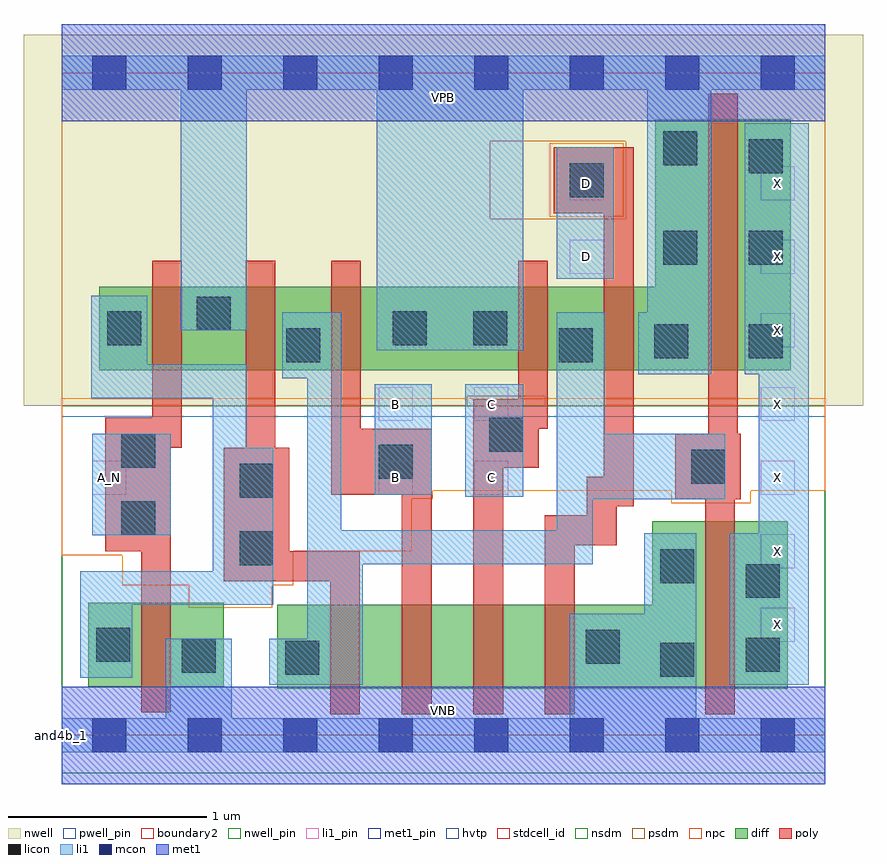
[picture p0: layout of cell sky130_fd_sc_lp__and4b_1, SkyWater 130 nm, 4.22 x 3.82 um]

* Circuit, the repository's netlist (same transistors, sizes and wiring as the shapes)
* Copyright 2020 The SkyWater PDK Authors
*
* Licensed under the Apache License, Version 2.0 (the "License");
* you may not use this file except in compliance with the License.
* You may obtain a copy of the License at
*
*     https://www.apache.org/licenses/LICENSE-2.0
*
* Unless required by applicable law or agreed to in writing, software
* distributed under the License is distributed on an "AS IS" BASIS,
* WITHOUT WARRANTIES OR CONDITIONS OF ANY KIND, either express or implied.
* See the License for the specific language governing permissions and
* limitations under the License.
*
* SPDX-License-Identifier: Apache-2.0

.SUBCKT sky130_fd_sc_lp__and4b_1 A_N B C D VGND VNB VPB VPWR X
*.PININFO A_N:I B:I C:I D:I VGND:I VNB:I VPB:I VPWR:I X:O
MMP0 y A VPWR VPB sky130_fd_pr__pfet_01v8_hvt m=1 w=0.42U l=0.15U mult=1 sa=0.265
+ sb=0.265 sd=0.28 area=0.063 perim=1.14
MMP1 y B VPWR VPB sky130_fd_pr__pfet_01v8_hvt m=1 w=0.42U l=0.15U mult=1 sa=0.265
+ sb=0.265 sd=0.28 area=0.063 perim=1.14
MMP2 y C VPWR VPB sky130_fd_pr__pfet_01v8_hvt m=1 w=0.42U l=0.15U mult=1 sa=0.265
+ sb=0.265 sd=0.28 area=0.063 perim=1.14
MMP3 y D VPWR VPB sky130_fd_pr__pfet_01v8_hvt m=1 w=0.42U l=0.15U mult=1 sa=0.265
+ sb=0.265 sd=0.28 area=0.063 perim=1.14
MMIP0 A A_N VPWR VPB sky130_fd_pr__pfet_01v8_hvt m=1 w=0.42U l=0.15U mult=1 sa=0.265
+ sb=0.265 sd=0.28 area=0.063 perim=1.14
MMIP1 X y VPWR VPB sky130_fd_pr__pfet_01v8_hvt m=1 w=1.26U l=0.15U mult=1 sa=0.265
+ sb=0.265 sd=0.28 area=0.063 perim=1.14
MMN0 y A sndA VNB sky130_fd_pr__nfet_01v8 m=1 w=0.42U l=0.15U mult=1 sa=0.265 sb=0.265
+ sd=0.28 area=0.063 perim=1.14
MMN1 sndA B sndB VNB sky130_fd_pr__nfet_01v8 m=1 w=0.42U l=0.15U mult=1 sa=0.265
+ sb=0.265 sd=0.28 area=0.063 perim=1.14
MMN2 sndB C sndC VNB sky130_fd_pr__nfet_01v8 m=1 w=0.42U l=0.15U mult=1 sa=0.265
+ sb=0.265 sd=0.28 area=0.063 perim=1.14
MMN3 sndC D VGND VNB sky130_fd_pr__nfet_01v8 m=1 w=0.42U l=0.15U mult=1 sa=0.265
+ sb=0.265 sd=0.28 area=0.063 perim=1.14
MMIN0 A A_N VGND VNB sky130_fd_pr__nfet_01v8 m=1 w=0.42U l=0.15U mult=1 sa=0.265
+ sb=0.265 sd=0.28 area=0.063 perim=1.14
MMIN1 X y VGND VNB sky130_fd_pr__nfet_01v8 m=1 w=0.84U l=0.15U mult=1 sa=0.265
+ sb=0.265 sd=0.28 area=0.063 perim=1.14
.ENDS sky130_fd_sc_lp__and4b_1

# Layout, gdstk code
import gdstk
lib = gdstk.Library(unit=1e-6, precision=1e-09)
def R(c, l, rs):  # rectangles x0, y0, x1, y1
    for r in rs: c.add(gdstk.rectangle(r[:2], r[2:], *l))
def A(c, l, x, y, w, h, nx, ny, dx, dy):  # array of equal rectangles
    R(c, l, [(x+i*dx, y+j*dy, x+i*dx+w, y+j*dy+h) for i in range(nx) for j in range(ny)])
def P(c, l, *ps):  # polygons
    for p in ps: c.add(gdstk.Polygon(p, *l))
nwell_pin = (64, 16)
nwell = (64, 20)
diff = (65, 20)
poly = (66, 20)
licon = (66, 44)
li1_pin = (67, 16)
li1 = (67, 20)
mcon = (67, 44)
met1_pin = (68, 16)
met1 = (68, 20)
hvtp = (78, 44)
stdcell_id = (81, 4)
nsdm = (93, 44)
psdm = (94, 20)
npc = (95, 20)
pwell_pin = (122, 16)
boundary2 = (236, 0)

sky130_fd_sc_lp__and4b_1 = lib.new_cell('sky130_fd_sc_lp__and4b_1')
R(sky130_fd_sc_lp__and4b_1, nwell_pin, [(0,3.085,3.84,3.33)])
R(sky130_fd_sc_lp__and4b_1, nwell, [(-0.19,1.655,4.03,3.52)])
R(sky130_fd_sc_lp__and4b_1, diff, [(0.135,0.245,0.815,0.665)])
P(sky130_fd_sc_lp__and4b_1, diff, [(3.65,1.075),(2.97,1.075),(2.97,0.655),(1.085,0.655),(1.085,0.235),(3.65,0.235)],
  [(3.665,3.095),(2.985,3.095),(2.985,2.255),(0.19,2.255),(0.19,1.835),(3.665,1.835)])
P(sky130_fd_sc_lp__and4b_1, poly, [(0.605,2.385),(0.455,2.385),(0.455,1.595),(0.22,1.595),(0.22,0.925),(0.4,0.925),(0.4,0.115),(0.55,0.115),(0.55,1.445),(0.605,1.445)],
  [(1.5,0.925),(1.145,0.925),(1.145,1.445),(1.075,1.445),(1.075,2.385),(0.925,2.385),(0.925,1.445),(0.815,1.445),(0.815,0.775),(1.35,0.775),(1.35,0.105),(1.5,0.105)],
  [(1.86,1.54),(1.505,1.54),(1.505,2.385),(1.355,2.385),(1.355,1.21),(1.71,1.21),(1.71,0.105),(1.86,0.105)],
  [(2.445,2.385),(2.295,2.385),(2.295,1.69),(2.07,1.69),(2.07,0.105),(2.22,0.105),(2.22,1.345),(2.4,1.345),(2.4,1.54),(2.445,1.54)],
  [(2.875,2.955),(2.475,2.955),(2.475,2.625),(2.725,2.625),(2.725,1.3),(2.64,1.3),(2.64,1.105),(2.43,1.105),(2.43,0.105),(2.58,0.105),(2.58,0.955),(2.79,0.955),(2.79,1.15),(2.875,1.15)],
  [(3.415,1.515),(3.4,1.515),(3.4,3.225),(3.25,3.225),(3.25,1.515),(3.085,1.515),(3.085,1.185),(3.235,1.185),(3.235,0.105),(3.385,0.105),(3.385,1.185),(3.415,1.185)])
R(sky130_fd_sc_lp__and4b_1, licon, [(3.01,0.295,3.18,0.465), (1.125,0.305,1.295,0.475), (0.605,0.315,0.775,0.485), (3.44,0.32,3.61,0.49), (2.635,0.36,2.805,0.53), (0.175,0.37,0.345,0.54), (3.44,0.69,3.61,0.86), (3.01,0.765,3.18,0.935), (0.895,0.855,1.065,1.025), (0.3,1.005,0.47,1.175), (0.895,1.195,1.065,1.365), (3.165,1.265,3.335,1.435), (1.595,1.29,1.765,1.46), (0.3,1.345,0.47,1.515), (2.15,1.425,2.32,1.595), (1.13,1.875,1.3,2.045), (2.5,1.875,2.67,2.045), (2.98,1.895,3.15,2.065), (3.455,1.895,3.625,2.065), (0.23,1.96,0.4,2.13), (1.665,1.96,1.835,2.13), (2.07,1.96,2.24,2.13), (0.68,2.035,0.85,2.205), (3.025,2.365,3.195,2.535), (3.455,2.365,3.625,2.535), (2.555,2.705,2.725,2.875), (3.455,2.825,3.625,2.995), (3.025,2.865,3.195,3.035)])
A(sky130_fd_sc_lp__and4b_1, li1_pin, 3.515, 0.47, 0.17, 0.17, 1, 7, 0, 0.37)
R(sky130_fd_sc_lp__and4b_1, li1_pin, [(0.155,1.21,0.325,1.38), (1.595,1.21,1.765,1.38), (2.075,1.21,2.245,1.38), (1.595,1.58,1.765,1.75), (2.075,1.58,2.245,1.75), (2.555,2.32,2.725,2.49), (2.555,2.69,2.725,2.86)])
R(sky130_fd_sc_lp__and4b_1, li1, [(0.155,1.005,0.55,1.515), (2.03,1.2,2.32,1.765), (1.575,1.21,1.86,1.765), (2.49,2.295,2.775,2.955)])
P(sky130_fd_sc_lp__and4b_1, li1, [(3.84,3.415),(0,3.415),(0,3.245),(0.6,3.245),(0.6,2.035),(0.93,2.035),(0.93,3.245),(1.585,3.245),(1.585,1.935),(2.32,1.935),(2.32,3.245),(2.945,3.245),(2.945,2.125),(2.9,2.125),(2.9,1.815),(3.265,1.815),(3.265,3.245),(3.84,3.245)],
  [(3.84,0.085),(3.19,0.085),(3.19,1.015),(2.93,1.015),(2.93,0.61),(2.555,0.61),(2.555,0.085),(0.855,0.085),(0.855,0.485),(0.525,0.485),(0.525,0.085),(0,0.085),(0,-0.085),(3.84,-0.085)],
  [(1.11,1.795),(1.11,2.125),(1.405,2.125),(1.405,1.03),(2.49,1.03),(2.49,2.125),(2.73,2.125),(2.73,1.515),(3.335,1.515),(3.335,1.185),(2.67,1.185),(2.67,0.86),(1.515,0.86),(1.515,0.255),(1.045,0.255),(1.045,0.485),(1.235,0.485),(1.235,1.795)],
  [(3.36,0.255),(3.36,1.015),(3.505,1.015),(3.505,1.815),(3.435,1.815),(3.435,3.075),(3.755,3.075),(3.755,0.255)],
  [(0.43,1.865),(0.93,1.865),(0.93,1.445),(1.065,1.445),(1.065,0.655),(0.355,0.655),(0.355,0.29),(0.095,0.29),(0.095,0.825),(0.76,0.825),(0.76,1.695),(0.15,1.695),(0.15,2.21),(0.43,2.21)])
A(sky130_fd_sc_lp__and4b_1, mcon, 0.155, -0.085, 0.17, 0.17, 8, 2, 0.48, 3.33)
R(sky130_fd_sc_lp__and4b_1, met1_pin, [(0,0,3.84,0.245), (0,3.085,3.84,3.33)])
R(sky130_fd_sc_lp__and4b_1, met1, [(0,-0.245,3.84,0.245), (0,3.085,3.84,3.575)])
R(sky130_fd_sc_lp__and4b_1, hvtp, [(0,1.6,3.84,3.33)])
R(sky130_fd_sc_lp__and4b_1, stdcell_id, [(0,0,3.84,3.33)])
R(sky130_fd_sc_lp__and4b_1, nsdm, [(0,-0.19,3.84,1.655)])
P(sky130_fd_sc_lp__and4b_1, psdm, [(3.84,3.52),(2.835,3.52),(2.835,2.595),(2.155,2.595),(2.155,2.985),(2.835,2.985),(2.835,3.52),(0,3.52),(0,1.655),(2.04,1.655),(2.04,1.705),(2.43,1.705),(2.43,1.655),(3.84,1.655)])
R(sky130_fd_sc_lp__and4b_1, npc, [(2.455,2.605,2.825,2.975)])
P(sky130_fd_sc_lp__and4b_1, npc, [(3.84,1.695),(0,1.695),(0,0.905),(0.305,0.905),(0.305,0.755),(0.64,0.755),(0.64,0.64),(1.06,0.64),(1.06,0.755),(1.165,0.755),(1.165,0.925),(1.76,0.925),(1.76,1.19),(1.865,1.19),(1.865,1.23),(3.065,1.23),(3.065,1.165),(3.465,1.165),(3.465,1.23),(3.84,1.23)])
R(sky130_fd_sc_lp__and4b_1, pwell_pin, [(0,0,3.84,0.245)])
R(sky130_fd_sc_lp__and4b_1, boundary2, [(0,0,3.84,3.33)])
sky130_fd_sc_lp__and4b_1.add(gdstk.Label('VNB', (1.92,0.123), layer=64, texttype=59))
sky130_fd_sc_lp__and4b_1.add(gdstk.Label('VPB', (1.92,3.208), layer=64, texttype=5))
sky130_fd_sc_lp__and4b_1.add(gdstk.Label('and4b_1', (0,0), layer=83, texttype=44))
sky130_fd_sc_lp__and4b_1.add(gdstk.Label('VPWR', (1.92,3.208), layer=68, texttype=5))
sky130_fd_sc_lp__and4b_1.add(gdstk.Label('VGND', (1.92,0.123), layer=68, texttype=5))
sky130_fd_sc_lp__and4b_1.add(gdstk.Label('B', (1.68,1.295), layer=67, texttype=5))
sky130_fd_sc_lp__and4b_1.add(gdstk.Label('B', (1.68,1.665), layer=67, texttype=5))
sky130_fd_sc_lp__and4b_1.add(gdstk.Label('A_N', (0.24,1.295), layer=67, texttype=5))
sky130_fd_sc_lp__and4b_1.add(gdstk.Label('X', (3.6,0.555), layer=67, texttype=5))
sky130_fd_sc_lp__and4b_1.add(gdstk.Label('C', (2.16,1.295), layer=67, texttype=5))
sky130_fd_sc_lp__and4b_1.add(gdstk.Label('C', (2.16,1.665), layer=67, texttype=5))
sky130_fd_sc_lp__and4b_1.add(gdstk.Label('D', (2.64,2.405), layer=67, texttype=5))
sky130_fd_sc_lp__and4b_1.add(gdstk.Label('D', (2.64,2.775), layer=67, texttype=5))
sky130_fd_sc_lp__and4b_1.add(gdstk.Label('X', (3.6,2.775), layer=67, texttype=5))
sky130_fd_sc_lp__and4b_1.add(gdstk.Label('X', (3.6,2.405), layer=67, texttype=5))
sky130_fd_sc_lp__and4b_1.add(gdstk.Label('X', (3.6,2.035), layer=67, texttype=5))
sky130_fd_sc_lp__and4b_1.add(gdstk.Label('X', (3.6,1.665), layer=67, texttype=5))
sky130_fd_sc_lp__and4b_1.add(gdstk.Label('X', (3.6,1.295), layer=67, texttype=5))
sky130_fd_sc_lp__and4b_1.add(gdstk.Label('X', (3.6,0.925), layer=67, texttype=5))

lib.write_gds('sky130_fd_sc_lp__and4b_1.gds')
